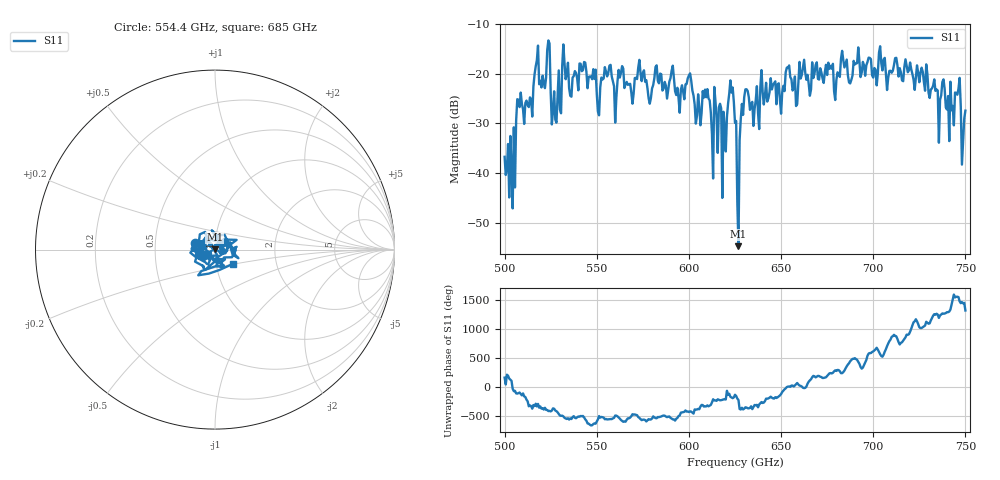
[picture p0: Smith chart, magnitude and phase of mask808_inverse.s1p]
!Created with skrf (http://scikit-rf.org).
# GHz S MA R 50.0
!freq magS11 angS11
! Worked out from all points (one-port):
!   401 points, 500 GHz to 750 GHz, reference 50 ohm
!   lowest |S11| = -54.8 dB at 626.9 GHz (marker M1), VSWR 1.00, Z = 49.9 + j0.128 ohm
!   |S11| at or under -10 dB: start of sweep to end of sweep
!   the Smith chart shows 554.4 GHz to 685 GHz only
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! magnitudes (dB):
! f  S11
! 500 GHz  -36.7
! 505 GHz  -30.8
! 507.5 GHz  -25.2
! 513.8 GHz  -24.7
! 516.9 GHz  -18.5
! 520.6 GHz  -20.4
! 523.8 GHz  -13.3
! 526.9 GHz  -23.5
! 531.2 GHz  -18.4
! 542.5 GHz  -19.3
! 551.2 GHz  -28.4
! 562.5 GHz  -20.7
! 578.8 GHz  -26.0
! 590.6 GHz  -19.4
! 593.8 GHz  -22.8
! 610 GHz  -23.1
! 611.9 GHz  -27.8
! 619.4 GHz  -30.7
! 623.1 GHz  -23.8
! 625 GHz  -29.9
! 626.9 GHz  -54.8
! 631.2 GHz  -23.1
! 656.2 GHz  -23.3
! 687.5 GHz  -21.9
! 718.8 GHz  -19.7
! 742.5 GHz  -27.3
! 745.6 GHz  -24.2
! 750 GHz  -27.4
